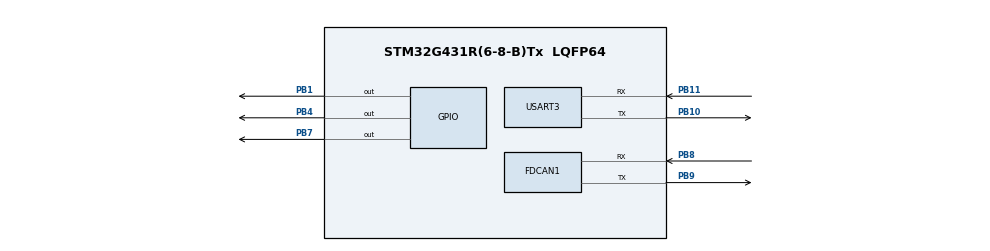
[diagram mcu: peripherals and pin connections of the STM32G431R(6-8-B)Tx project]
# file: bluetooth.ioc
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Mcu.Family=STM32G4
Mcu.Name=STM32G431R(6-8-B)Tx
Mcu.Package=LQFP64
NVIC.PriorityGroup=NVIC_PRIORITYGROUP_4
NVIC.USART3_IRQn=true\:0\:0\:false\:false\:true\:true\:true
PA13.Mode=Serial_Wire
PA13.Signal=SYS_JTMS-SWDIO
PA14.Mode=Serial_Wire
PA14.Signal=SYS_JTCK-SWCLK
PB1.Signal=GPIO_Output
PB10.Mode=Asynchronous
PB10.Signal=USART3_TX
PB11.Mode=Asynchronous
PB11.Signal=USART3_RX
PB4.Signal=GPIO_Output
PB7.Signal=GPIO_Output
PB8-BOOT0.Mode=FDCAN_Activate
PB8-BOOT0.Signal=FDCAN1_RX
PB9.Mode=FDCAN_Activate
PB9.Signal=FDCAN1_TX
ProjectManager.HeapSize=0x200
ProjectManager.StackSize=0x400
ProjectManager.TargetToolchain=EWARM V8.32
RCC.AHBFreq_Value=16000000
RCC.APB1Freq_Value=16000000
RCC.APB1TimFreq_Value=16000000
RCC.APB2Freq_Value=16000000
RCC.APB2TimFreq_Value=16000000
RCC.CortexFreq_Value=16000000
RCC.EXTERNAL_CLOCK_VALUE=12288000
RCC.HCLKFreq_Value=16000000
RCC.HSE_VALUE=8000000
RCC.HSI48_VALUE=48000000
RCC.HSI_VALUE=16000000
RCC.LSE_VALUE=32768
RCC.SYSCLKFreq_VALUE=16000000
RCC.USBFreq_Value=64000000
RCC.VCOOutputFreq_Value=128000000
USART3.VirtualMode-Asynchronous=VM_ASYNC
VP_SYS_VS_DBSignals.Mode=DisableDeadBatterySignals
VP_SYS_V_PVD_IN.Mode=Mode_PVD_Int
board=custom

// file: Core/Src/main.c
/* USER CODE BEGIN Header */
/**
  ******************************************************************************
  * @file           : main.c
  * @brief          : Main program body
  ******************************************************************************
  * @attention
  *
  * <h2><center>&copy; Copyright (c) 2021 STMicroelectronics.
  * All rights reserved.</center></h2>
  *
  * This software component is licensed by ST under BSD 3-Clause license,
  * the "License"; You may not use this file except in compliance with the
  * License. You may obtain a copy of the License at:
  *                        opensource.org/licenses/BSD-3-Clause
  *
  ******************************************************************************
  */
/* USER CODE END Header */
#include "main.h"

/* USER CODE BEGIN Includes */
#include "machine.h"
/* USER CODE END Includes */

/* USER CODE BEGIN PD */
#define BUFFER_LEN  1

/* USER CODE END PD */

FDCAN_HandleTypeDef hfdcan1;

/* USER CODE BEGIN PV */
uint8_t RX_BUFFER = NULL;
uint8_t UART1_rxBuffer[10] = NULL;
extern machine_struct machine;

/* USER CODE END PV */

void SystemClock_Config(void);
static void MX_GPIO_Init(void);
static void MX_FDCAN1_Init(void);
static void MX_USART3_UART_Init(void);
/* USER CODE BEGIN PFP */
void AT(void);
void ATPWR(void);
void usart_send(char * data);
/* USER CODE END PFP */

int main(void)
{

  /* MCU Configuration--------------------------------------------------------*/

  /* Reset of all peripherals, Initializes the Flash interface and the Systick. */
  HAL_Init();

  /* Configure the system clock */
  SystemClock_Config();

  /* Initialize all configured peripherals */
  MX_GPIO_Init();
  MX_FDCAN1_Init();
  MX_USART3_UART_Init();
  /* USER CODE BEGIN 2 */
    LL_GPIO_SetOutputPin(GPIOB, LL_GPIO_PIN_1);
    HAL_Delay(100);
    LL_GPIO_ResetOutputPin(GPIOB, LL_GPIO_PIN_1);
    HAL_Delay(900);
    LL_GPIO_SetOutputPin(GPIOB, LL_GPIO_PIN_1);
    HAL_Delay(4000);

  /*printf("before transmit %d\n",RX_BUFFER);
  HAL_UART_Transmit(&huart3, (uint8_t*)"AT\r\n" , sizeof("AT\r\n"),10);
  HAL_UART_Receive_IT(&huart3, &RX_BUFFER, BUFFER_LEN);*/
  /* USER CODE END 2 */

  /* Infinite loop */
  /* USER CODE BEGIN WHILE */
    AT();
     HAL_Delay(1000);
     AT();
     HAL_Delay(1000);
     AT();
     HAL_Delay(1000);
     AT();
     HAL_Delay(1000);
     ATPWR();
     waitUntilConnection(&machine);
     usart_send("AT+QBTACPT=1,2\r\n");
     HAL_Delay(500);

  while (1)
  {

      usart_send("1010001010010100101000101001010010100010100101001010001010010100\r\n");
      HAL_Delay(3000);
      usart_send("1011111010010111101111101001011110111110100101111011111010010111\r\n");
      HAL_Delay(3000);

    /* USER CODE END WHILE */

  }
}

void SystemClock_Config(void)
{
  LL_FLASH_SetLatency(LL_FLASH_LATENCY_0);
  while(LL_FLASH_GetLatency() != LL_FLASH_LATENCY_0)
  {
  }
  LL_PWR_SetRegulVoltageScaling(LL_PWR_REGU_VOLTAGE_SCALE1);
  LL_RCC_HSI_Enable();
   /* Wait till HSI is ready */
  while(LL_RCC_HSI_IsReady() != 1)
  {
  }

  LL_RCC_HSI_SetCalibTrimming(64);
  LL_RCC_SetSysClkSource(LL_RCC_SYS_CLKSOURCE_HSI);
   /* Wait till System clock is ready */
  while(LL_RCC_GetSysClkSource() != LL_RCC_SYS_CLKSOURCE_STATUS_HSI)
  {
  }

  /* Set AHB prescaler*/
  LL_RCC_SetAHBPrescaler(LL_RCC_SYSCLK_DIV_1);
  LL_RCC_SetAPB1Prescaler(LL_RCC_APB1_DIV_1);
  LL_RCC_SetAPB2Prescaler(LL_RCC_APB2_DIV_1);
  LL_SetSystemCoreClock(16000000);

   /* Update the time base */
  if (HAL_InitTick (TICK_INT_PRIORITY) != HAL_OK)
  {
    Error_Handler();
  }
  LL_RCC_SetFDCANClockSource(LL_RCC_FDCAN_CLKSOURCE_PCLK1);
  LL_RCC_SetUSARTClockSource(LL_RCC_USART3_CLKSOURCE_PCLK1);
}

static void MX_FDCAN1_Init(void)
{

  hfdcan1.Instance = FDCAN1;
  hfdcan1.Init.ClockDivider = FDCAN_CLOCK_DIV1;
  hfdcan1.Init.FrameFormat = FDCAN_FRAME_CLASSIC;
  hfdcan1.Init.Mode = FDCAN_MODE_NORMAL;
  hfdcan1.Init.AutoRetransmission = DISABLE;
  hfdcan1.Init.TransmitPause = DISABLE;
  hfdcan1.Init.ProtocolException = DISABLE;
  hfdcan1.Init.NominalPrescaler = 1;
  hfdcan1.Init.NominalSyncJumpWidth = 1;
  hfdcan1.Init.NominalTimeSeg1 = 2;
  hfdcan1.Init.NominalTimeSeg2 = 2;
  hfdcan1.Init.DataPrescaler = 1;
  hfdcan1.Init.DataSyncJumpWidth = 1;
  hfdcan1.Init.DataTimeSeg1 = 1;
  hfdcan1.Init.DataTimeSeg2 = 1;
  hfdcan1.Init.StdFiltersNbr = 0;
  hfdcan1.Init.ExtFiltersNbr = 0;
  hfdcan1.Init.TxFifoQueueMode = FDCAN_TX_FIFO_OPERATION;
  if (HAL_FDCAN_Init(&hfdcan1) != HAL_OK)
  {
    Error_Handler();
  }

}

static void MX_USART3_UART_Init(void)
{

  LL_USART_InitTypeDef USART_InitStruct = {0};

  LL_GPIO_InitTypeDef GPIO_InitStruct = {0};

  /* Peripheral clock enable */
  LL_APB1_GRP1_EnableClock(LL_APB1_GRP1_PERIPH_USART3);

  LL_AHB2_GRP1_EnableClock(LL_AHB2_GRP1_PERIPH_GPIOB);
  /**USART3 GPIO Configuration
  PB10   ------> USART3_TX
  PB11   ------> USART3_RX
  */
  GPIO_InitStruct.Pin = LL_GPIO_PIN_10;
  GPIO_InitStruct.Mode = LL_GPIO_MODE_ALTERNATE;
  GPIO_InitStruct.Speed = LL_GPIO_SPEED_FREQ_LOW;
  GPIO_InitStruct.OutputType = LL_GPIO_OUTPUT_PUSHPULL;
  GPIO_InitStruct.Pull = LL_GPIO_PULL_NO;
  GPIO_InitStruct.Alternate = LL_GPIO_AF_7;
  LL_GPIO_Init(GPIOB, &GPIO_InitStruct);

  GPIO_InitStruct.Pin = LL_GPIO_PIN_11;
  GPIO_InitStruct.Mode = LL_GPIO_MODE_ALTERNATE;
  GPIO_InitStruct.Speed = LL_GPIO_SPEED_FREQ_LOW;
  GPIO_InitStruct.OutputType = LL_GPIO_OUTPUT_PUSHPULL;
  GPIO_InitStruct.Pull = LL_GPIO_PULL_NO;
  GPIO_InitStruct.Alternate = LL_GPIO_AF_7;
  LL_GPIO_Init(GPIOB, &GPIO_InitStruct);

  /* USART3 interrupt Init */
  NVIC_SetPriority(USART3_IRQn, NVIC_EncodePriority(NVIC_GetPriorityGrouping(),0, 0));
  NVIC_EnableIRQ(USART3_IRQn);

  USART_InitStruct.PrescalerValue = LL_USART_PRESCALER_DIV1;
  USART_InitStruct.BaudRate = 115200;
  USART_InitStruct.DataWidth = LL_USART_DATAWIDTH_8B;
  USART_InitStruct.StopBits = LL_USART_STOPBITS_1;
  USART_InitStruct.Parity = LL_USART_PARITY_NONE;
  USART_InitStruct.TransferDirection = LL_USART_DIRECTION_TX_RX;
  USART_InitStruct.HardwareFlowControl = LL_USART_HWCONTROL_NONE;
  USART_InitStruct.OverSampling = LL_USART_OVERSAMPLING_16;
  LL_USART_Init(USART3, &USART_InitStruct);
  LL_USART_SetTXFIFOThreshold(USART3, LL_USART_FIFOTHRESHOLD_1_8);
  LL_USART_SetRXFIFOThreshold(USART3, LL_USART_FIFOTHRESHOLD_1_8);
  LL_USART_DisableFIFO(USART3);
  LL_USART_ConfigAsyncMode(USART3);

  LL_USART_Enable(USART3);

  /* Polling USART3 initialisation */
  while((!(LL_USART_IsActiveFlag_TEACK(USART3))) || (!(LL_USART_IsActiveFlag_REACK(USART3))))
  {
  }
  /* USER CODE BEGIN USART3_Init 2 */
    LL_USART_EnableIT_RXNE(USART3);
  /* USER CODE END USART3_Init 2 */

}

static void MX_GPIO_Init(void)
{
  LL_GPIO_InitTypeDef GPIO_InitStruct = {0};

  /* GPIO Ports Clock Enable */
  LL_AHB2_GRP1_EnableClock(LL_AHB2_GRP1_PERIPH_GPIOB);
  LL_AHB2_GRP1_EnableClock(LL_AHB2_GRP1_PERIPH_GPIOA);

  /**/
  LL_GPIO_ResetOutputPin(GPIOB, LL_GPIO_PIN_1);

  /**/
  LL_GPIO_ResetOutputPin(GPIOB, LL_GPIO_PIN_4);

  /**/
  LL_GPIO_ResetOutputPin(GPIOB, LL_GPIO_PIN_7);

  /**/
  GPIO_InitStruct.Pin = LL_GPIO_PIN_1;
  GPIO_InitStruct.Mode = LL_GPIO_MODE_OUTPUT;
  GPIO_InitStruct.Speed = LL_GPIO_SPEED_FREQ_LOW;
  GPIO_InitStruct.OutputType = LL_GPIO_OUTPUT_PUSHPULL;
  GPIO_InitStruct.Pull = LL_GPIO_PULL_NO;
  LL_GPIO_Init(GPIOB, &GPIO_InitStruct);

  /**/
  GPIO_InitStruct.Pin = LL_GPIO_PIN_4;
  GPIO_InitStruct.Mode = LL_GPIO_MODE_OUTPUT;
  GPIO_InitStruct.Speed = LL_GPIO_SPEED_FREQ_LOW;
  GPIO_InitStruct.OutputType = LL_GPIO_OUTPUT_PUSHPULL;
  GPIO_InitStruct.Pull = LL_GPIO_PULL_NO;
  LL_GPIO_Init(GPIOB, &GPIO_InitStruct);

  /**/
  GPIO_InitStruct.Pin = LL_GPIO_PIN_7;
  GPIO_InitStruct.Mode = LL_GPIO_MODE_OUTPUT;
  GPIO_InitStruct.Speed = LL_GPIO_SPEED_FREQ_LOW;
  GPIO_InitStruct.OutputType = LL_GPIO_OUTPUT_PUSHPULL;
  GPIO_InitStruct.Pull = LL_GPIO_PULL_NO;
  LL_GPIO_Init(GPIOB, &GPIO_InitStruct);

}

/* USER CODE BEGIN 4 */
void AT(){
uint8_t bluetooth[] = "AT\r\n";
printf("in AT\n");
usart_send("AT\r\n");
/*HAL_UART_Transmit(&huart3, bluetooth,sizeof(bluetooth)-1,1000);
HAL_UART_Receive(&huart3, UART1_rxBuffer,2,200);
printf("buffer %c \n",UART1_rxBuffer[0]);*/
}
void ATPWR(){
printf("in PWR\n");
usart_send("AT+QBTPWR=1\r\n");
/*HAL_UART_Transmit(&huart3, bluetooth,sizeof(bluetooth)-1,1000);
HAL_UART_Receive(&huart3, UART1_rxBuffer,2,200);
printf("buffer %c \n",UART1_rxBuffer[0]);*/
}
void usart_send(char * data)
{
   uint8_t i=0;
   //strcat(data,"\r\n");
   while(i<strlen(data)){
    while (!LL_USART_IsActiveFlag_TC(USART3))
    {
        //NOP_Process();
    }
    LL_USART_TransmitData8(USART3,data[i]);   //USART_SendData(USART3,data[i])
    // while(!LL_USART_IsActiveFlag_TXE_TXFNF(USART3));//****    USART_GetFlagStatus(USART3, USART_FLAG_TXE) == RESET
     i++;
   }
}
/* USER CODE END 4 */

void Error_Handler(void)
{
  __disable_irq();
  while (1)
  {
  }
}

/************************ (C) COPYRIGHT STMicroelectronics *****END OF FILE****/
